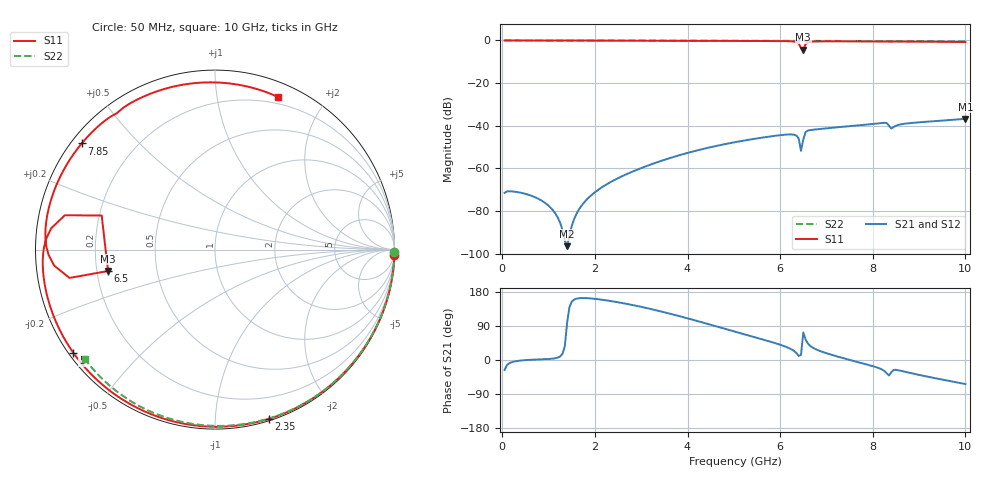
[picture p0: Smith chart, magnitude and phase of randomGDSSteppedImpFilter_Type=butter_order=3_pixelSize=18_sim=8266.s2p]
! freq	dB(S11)	phase(S11)	dB(S12)	phase(S12)
!  dB(S21)	phase(S21)	dB(S22)	phase(S22)
!S-par simulation data
#  GHz  S  DB  R 50
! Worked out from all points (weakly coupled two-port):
!   200 points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, 50 MHz to 10 GHz, reference 50 ohm
!   highest |S21| = -36.76 dB at 10 GHz (marker M1); lowest = -96.5 dB at 1.4 GHz (marker M2)
!   lowest |S11| = -4.3 dB at 6.5 GHz (marker M3), VSWR 4.10, Z = 12.3 - j4.66 ohm
!   |S11| at or under -10 dB: nowhere
!   |S22| runs from -0.5 to 0.0 dB; largest |S21 - S12| = 0
!   S11 on the Smith chart (normalised r, x): 50 MHz: 0, -71; 2.35 GHz: 0.01, -1.37; 5 GHz: 0.01, -0.33; 6.5 GHz: 0.25, -0.09; 7.85 GHz: 0.03, +0.35; 10 GHz: 0.14, +1.49
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0.05  -0.00 -1.6  -71.48 -26.5  -71.48 -26.5  -0.00 -0.8
0.5  -0.01 -16.0  -71.93 -0.3  -71.93 -0.3  -0.01 -8.1
0.85  -0.03 -27.1  -75.13 1.8  -75.13 1.8  -0.02 -13.7
1.1  -0.04 -34.9  -79.80 3.7  -79.80 3.7  -0.02 -17.7
1.4  -0.06 -44.2  -96.47 98.7  -96.47 98.7  -0.03 -22.5
1.6  -0.06 -50.2  -81.40 161.7  -81.40 161.7  -0.03 -25.6
1.75  -0.07 -54.8  -76.40 163.5  -76.40 163.5  -0.04 -28.0
2.35  -0.09 -72.4  -66.27 155.5  -66.27 155.5  -0.05 -37.3
3.4  -0.13 -101.7  -56.70 129.0  -56.70 129.0  -0.07 -53.2
5  -0.21 -143.8  -47.80 75.8  -47.80 75.8  -0.12 -76.2
5.05  -0.21 -145.1  -47.60 74.0  -47.60 74.0  -0.12 -76.9
6.1  -0.32 -174.7  -44.20 36.0  -44.20 36.0  -0.16 -91.1
6.4  -1.33 167.1  -45.94 10.8  -45.94 10.8  -0.18 -95.1
6.45  -3.62 163.3  -51.77 13.3  -51.77 13.3  -0.18 -95.7
6.5  -4.32 -168.7  -46.39 72.7  -46.39 72.7  -0.18 -96.4
6.55  -1.66 -169.0  -42.94 54.0  -42.94 54.0  -0.18 -97.0
6.7  -0.54 179.0  -41.88 32.9  -41.88 32.9  -0.19 -99.0
7.85  -0.45 141.5  -39.49 -11.1  -39.49 -11.1  -0.27 -113.6
8.35  -0.57 125.8  -39.96 -40.8  -39.96 -40.8  -0.31 -119.9
8.4  -0.55 124.5  -41.29 -32.5  -41.29 -32.5  -0.32 -120.5
9.2  -0.59 97.1  -38.06 -44.4  -38.06 -44.4  -0.39 -130.2
10  -0.73 67.4  -36.76 -63.5  -36.76 -63.5  -0.47 -140.0
